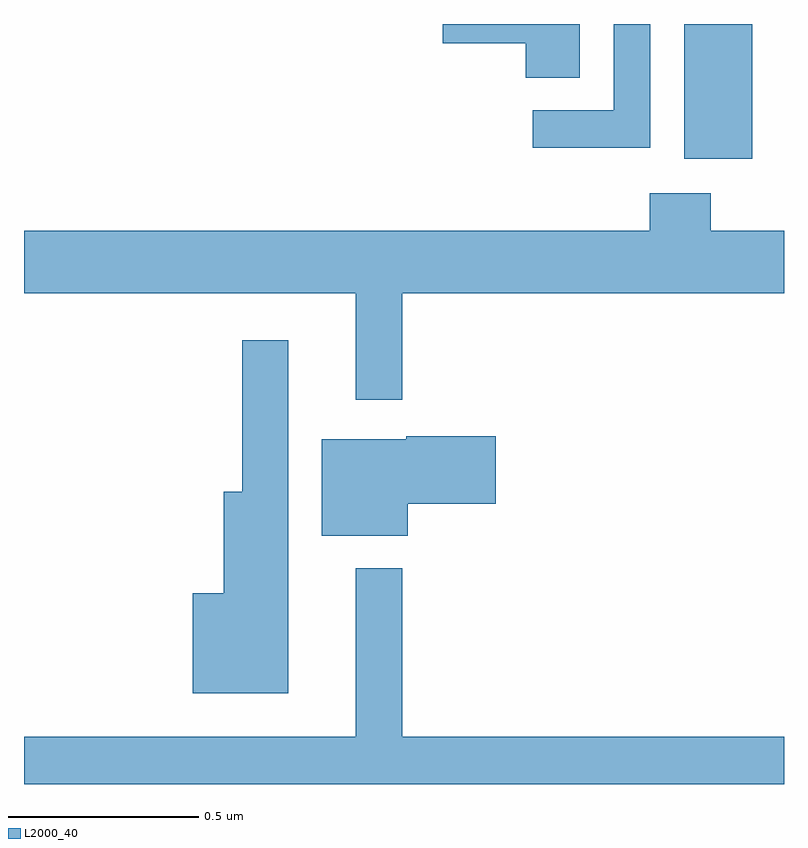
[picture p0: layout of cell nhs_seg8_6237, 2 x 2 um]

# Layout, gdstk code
import gdstk
lib = gdstk.Library(unit=1e-6, precision=1e-09)
def R(c, l, rs):  # rectangles x0, y0, x1, y1
    for r in rs: c.add(gdstk.rectangle(r[:2], r[2:], *l))
def P(c, l, *ps):  # polygons
    for p in ps: c.add(gdstk.Polygon(p, *l))
L2000_40 = (2000, 40)

nhs_seg8_6237 = lib.new_cell('nhs_seg8_6237')
R(nhs_seg8_6237, L2000_40, [(195.737,1091.546,195.916,1091.9)])
P(nhs_seg8_6237, L2000_40, [(195.648,1091.9),(195.552,1091.9),(195.552,1091.673),(195.339,1091.673),(195.339,1091.575),(195.648,1091.575)],
  [(195.463,1091.9),(195.102,1091.9),(195.102,1091.849),(195.32,1091.849),(195.32,1091.758),(195.463,1091.758)],
  [(194.995,1091.192),(196,1091.192),(196,1091.356),(195.807,1091.356),(195.807,1091.455),(195.647,1091.455),(195.647,1091.356),(194,1091.356),(194,1091.192),(194.873,1091.192),(194.873,1090.911),(194.995,1090.911)],
  [(194.695,1091.068),(194.574,1091.068),(194.574,1090.669),(194.525,1090.669),(194.525,1090.402),(194.444,1090.402),(194.444,1090.139),(194.695,1090.139)],
  [(195.01,1090.637),(195.241,1090.637),(195.241,1090.815),(195.006,1090.815),(195.006,1090.807),(194.783,1090.807),(194.783,1090.553),(195.01,1090.553)],
  [(196,1090.024),(194.995,1090.024),(194.995,1090.468),(194.873,1090.468),(194.873,1090.024),(194,1090.024),(194,1089.9),(196,1089.9)])

lib.write_gds('nhs_seg8_6237.gds')
